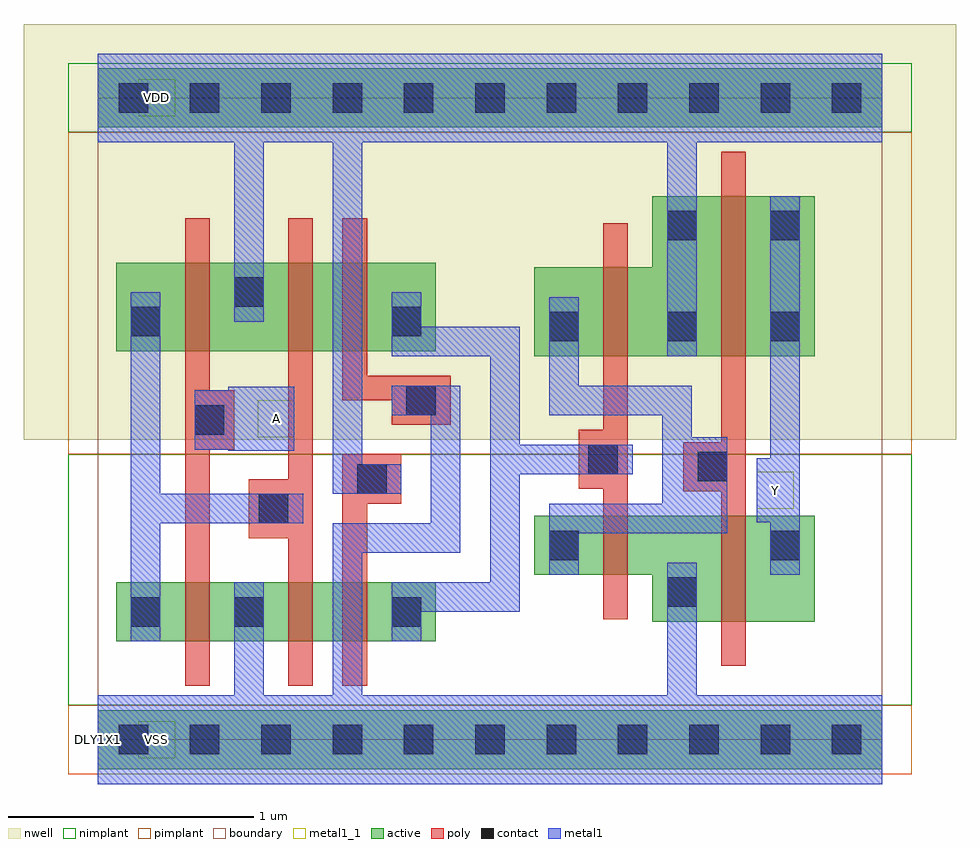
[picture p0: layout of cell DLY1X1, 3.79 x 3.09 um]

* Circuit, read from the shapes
.subckt DLY1X1 A VDD VSS Y
M1 VSS A n1 VSS nfet w=0.24u l=0.1u
M2 n2 n1 VSS VSS nfet w=0.24u l=0.1u
M3 n3 VDD n2 VSS nfet w=0.24u l=0.1u
M4 VSS n3 n4 VSS nfet w=0.24u l=0.1u
M5 Y n4 VSS VSS nfet w=0.43u l=0.1u
M6 VDD A n1 VDD pfet w=0.36u l=0.1u
M7 n5 n1 VDD VDD pfet w=0.36u l=0.1u
M8 n3 VSS n5 VDD pfet w=0.36u l=0.1u
M9 VDD n3 n4 VDD pfet w=0.36u l=0.1u
M10 Y n4 VDD VDD pfet w=0.65u l=0.1u
.ends

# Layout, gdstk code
import gdstk
lib = gdstk.Library(unit=1e-6, precision=5e-10)
def R(c, l, rs):  # rectangles x0, y0, x1, y1
    for r in rs: c.add(gdstk.rectangle(r[:2], r[2:], *l))
def A(c, l, x, y, w, h, nx, ny, dx, dy):  # array of equal rectangles
    R(c, l, [(x+i*dx, y+j*dy, x+i*dx+w, y+j*dy+h) for i in range(nx) for j in range(ny)])
active = (1, 0)
nwell = (2, 0)
poly = (3, 0)
nimplant = (4, 0)
pimplant = (5, 0)
contact = (6, 0)
metal1 = (7, 0)
metal1_1 = (7, 1)
boundary = (62, 0)

dly1x1 = lib.new_cell('DLY1X1')
R(dly1x1, active, [(0,-0.12,3.19,0.12), (0.075,0.4,1.375,0.64), (2.255,0.48,2.915,0.67), (1.775,0.67,2.915,0.91), (1.775,1.56,2.915,1.92), (0.075,1.58,1.375,1.94), (2.255,1.92,2.915,2.21), (0,2.49,3.19,2.73)])
R(dly1x1, nwell, [(-0.3,1.22,3.49,2.91)])
R(dly1x1, poly, [(0.355,0.22,0.455,1.18), (0.775,0.22,0.875,0.82), (0.995,0.22,1.095,0.96), (2.535,0.3,2.635,1.01), (2.055,0.49,2.155,1.02), (0.615,0.82,0.875,1.06), (0.995,0.96,1.235,1.16), (2.38,1.01,2.635,1.21), (1.955,1.02,2.155,1.26), (0.775,1.06,0.875,2.12), (0.355,1.18,0.555,1.42), (2.535,1.21,2.635,2.39), (2.055,1.26,2.155,2.1), (1.195,1.28,1.435,1.38), (0.995,1.38,1.435,1.48), (0.355,1.42,0.455,2.12), (0.995,1.48,1.095,2.12)])
R(dly1x1, nimplant, [(-0.12,0.14,3.31,1.16), (-0.12,2.47,3.31,2.75)])
R(dly1x1, pimplant, [(-0.12,-0.14,3.31,0.14), (-0.12,1.16,3.31,2.47)])
A(dly1x1, contact, 0.085, -0.06, 0.12, 0.12, 11, 2, 0.29, 2.61)
R(dly1x1, contact, [(0.135,0.46,0.255,0.58), (0.555,0.46,0.675,0.58), (1.195,0.46,1.315,0.58), (2.315,0.54,2.435,0.66), (1.835,0.73,1.955,0.85), (2.735,0.73,2.855,0.85), (0.655,0.88,0.775,1), (1.055,1,1.175,1.12), (2.44,1.05,2.56,1.17), (1.995,1.08,2.115,1.2), (0.395,1.24,0.515,1.36), (1.255,1.32,1.375,1.44), (1.835,1.62,1.955,1.74), (2.315,1.62,2.435,1.74), (2.735,1.62,2.855,1.74), (0.135,1.64,0.255,1.76), (1.195,1.64,1.315,1.76), (0.555,1.76,0.675,1.88), (2.315,2.03,2.435,2.15), (2.735,2.03,2.855,2.15)])
R(dly1x1, metal1, [(0,-0.18,3.19,0.18), (0.555,0.18,0.675,0.64), (0.955,0.18,1.075,0.76), (2.315,0.18,2.435,0.72), (0.135,0.4,0.255,0.88), (1.195,0.4,1.315,0.52), (1.195,0.52,1.715,0.64), (1.595,0.64,1.715,1.08), (1.835,0.67,1.955,0.84), (2.735,0.67,2.855,0.885), (0.955,0.76,1.475,0.88), (1.835,0.84,2.56,0.96), (0.135,0.88,0.835,1), (1.355,0.88,1.475,1.32), (2.68,0.885,2.855,1.145), (2.295,0.96,2.56,1.23), (0.135,1,0.255,1.82), (0.955,1,1.235,1.12), (1.595,1.08,2.175,1.2), (0.955,1.12,1.075,2.43), (2.735,1.145,2.855,2.21), (0.53,1.175,0.8,1.18), (0.395,1.18,0.8,1.42), (1.595,1.2,1.715,1.56), (2.295,1.23,2.415,1.32), (1.195,1.32,1.475,1.44), (1.835,1.32,2.415,1.44), (0.53,1.42,0.8,1.435), (1.835,1.44,1.955,1.8), (1.195,1.56,1.715,1.68), (2.315,1.56,2.435,2.43), (1.195,1.68,1.315,1.82), (0.555,1.7,0.675,2.43), (0,2.43,3.19,2.79)])
R(dly1x1, metal1_1, [(0.165,-0.075,0.315,0.075), (2.68,0.94,2.83,1.09), (0.65,1.23,0.8,1.38), (0.165,2.535,0.315,2.685)])
R(dly1x1, boundary, [(0,0,3.19,2.61)])
dly1x1.add(gdstk.Label('DLY1X1', (0,0), layer=63, texttype=0))
dly1x1.add(gdstk.Label('VSS', (0.24,0), layer=7, texttype=3))
dly1x1.add(gdstk.Label('VDD', (0.24,2.61), layer=7, texttype=3))
dly1x1.add(gdstk.Label('A', (0.725,1.305), layer=7, texttype=3))
dly1x1.add(gdstk.Label('Y', (2.755,1.015), layer=7, texttype=3))

lib.write_gds('DLY1X1.gds')
